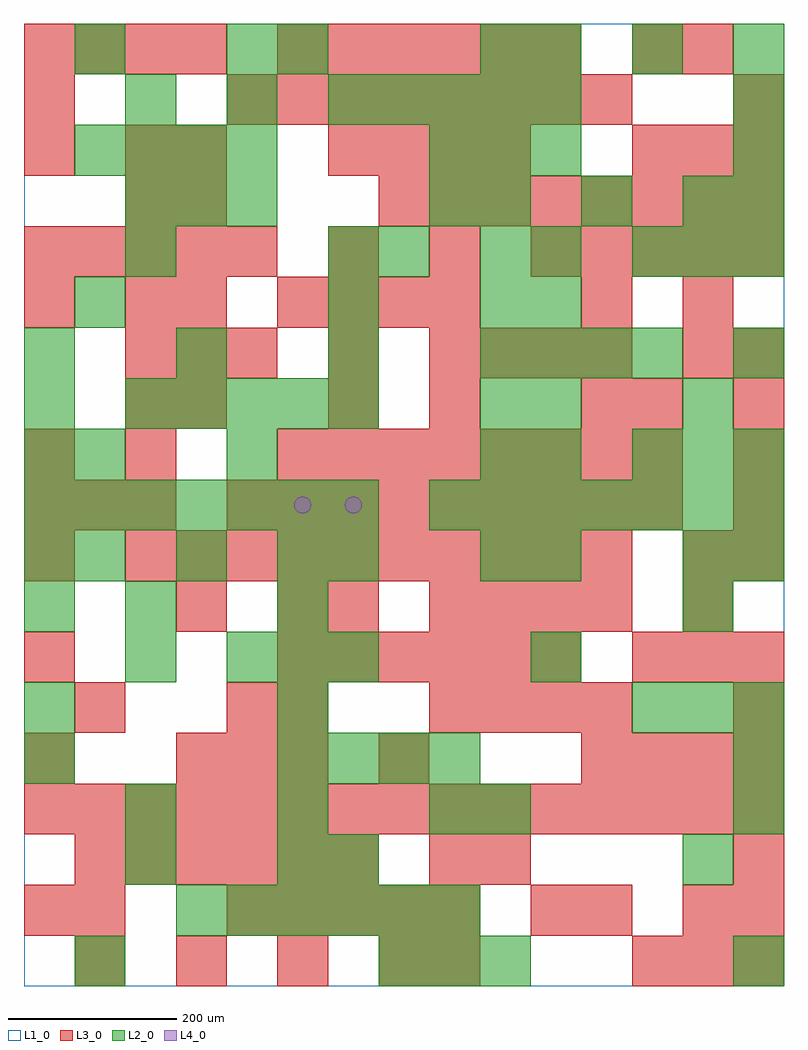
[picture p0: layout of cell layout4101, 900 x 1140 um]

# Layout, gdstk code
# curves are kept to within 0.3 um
import gdstk
lib = gdstk.Library(unit=1e-6, precision=1e-09)
def R(c, l, rs):  # rectangles x0, y0, x1, y1
    for r in rs: c.add(gdstk.rectangle(r[:2], r[2:], *l))
def A(c, l, x, y, w, h, nx, ny, dx, dy):  # array of equal rectangles
    R(c, l, [(x+i*dx, y+j*dy, x+i*dx+w, y+j*dy+h) for i in range(nx) for j in range(ny)])
def P(c, l, *ps):  # polygons
    for p in ps: c.add(gdstk.Polygon(p, *l))
L1_0 = (1, 0)
L2_0 = (2, 0)
L3_0 = (3, 0)
L4_0 = (4, 0)

layout4101 = lib.new_cell('layout4101')
R(layout4101, L1_0, [(0,0,900,1140)])
A(layout4101, L2_0, 420, 0, 60, 60, 3, 1, 60, 0)
A(layout4101, L2_0, 180, 60, 60, 60, 6, 1, 60, 0)
A(layout4101, L2_0, 120, 180, 60, 60, 3, 1, 180, 0)
A(layout4101, L2_0, 300, 240, 60, 60, 4, 1, 60, 0)
A(layout4101, L2_0, 840, 240, 60, 60, 1, 3, 0, 240)
A(layout4101, L2_0, 720, 300, 60, 60, 3, 2, 60, 300)
A(layout4101, L2_0, 240, 360, 60, 60, 3, 1, 60, 0)
A(layout4101, L2_0, 600, 360, 60, 60, 1, 3, 0, 120)
A(layout4101, L2_0, 60, 480, 60, 60, 3, 1, 120, 0)
A(layout4101, L2_0, 0, 540, 60, 60, 7, 1, 60, 0)
A(layout4101, L2_0, 480, 540, 60, 60, 7, 1, 60, 0)
A(layout4101, L2_0, 120, 660, 60, 60, 5, 1, 60, 0)
A(layout4101, L2_0, 0, 720, 60, 60, 4, 1, 180, 0)
A(layout4101, L2_0, 600, 720, 60, 60, 3, 1, 60, 0)
A(layout4101, L2_0, 720, 840, 60, 60, 3, 1, 60, 0)
A(layout4101, L2_0, 120, 900, 60, 60, 3, 1, 60, 0)
A(layout4101, L2_0, 540, 900, 60, 60, 3, 1, 120, 0)
A(layout4101, L2_0, 840, 900, 60, 60, 1, 3, 0, 60)
A(layout4101, L2_0, 60, 960, 60, 60, 4, 1, 60, 0)
A(layout4101, L2_0, 480, 960, 60, 60, 3, 1, 60, 0)
A(layout4101, L2_0, 120, 1020, 60, 60, 3, 1, 120, 0)
A(layout4101, L2_0, 420, 1020, 60, 60, 4, 1, 60, 0)
A(layout4101, L2_0, 600, 1080, 60, 60, 3, 1, 120, 0)
R(layout4101, L2_0, [(60,0,120,60), (840,0,900,60), (120,120,180,180), (300,120,360,180), (360,120,420,180), (780,120,840,180), (540,180,600,240), (840,180,900,240), (0,240,60,300), (0,300,60,360), (300,300,360,360), (120,360,180,420), (0,420,60,480), (120,420,180,480), (300,420,360,480), (780,420,840,480), (0,480,60,540), (360,480,420,540), (540,480,600,540), (780,480,840,540), (0,600,60,660), (60,600,120,660), (240,600,300,660), (540,600,600,660), (0,660,60,720), (540,660,600,720), (600,660,660,720), (780,660,840,720), (60,780,120,840), (360,780,420,840), (540,780,600,840), (600,780,660,840), (120,840,180,900), (360,840,420,900), (420,840,480,900), (540,840,600,900), (600,840,660,900), (480,900,540,960), (60,1080,120,1140), (240,1080,300,1140), (300,1080,360,1140), (540,1080,600,1140)])
A(layout4101, L3_0, 60, 0, 60, 60, 4, 1, 120, 0)
A(layout4101, L3_0, 720, 0, 60, 60, 3, 2, 60, 360)
A(layout4101, L3_0, 240, 60, 60, 60, 5, 1, 60, 0)
A(layout4101, L3_0, 60, 120, 60, 60, 6, 1, 60, 0)
A(layout4101, L3_0, 840, 120, 60, 60, 1, 3, 0, 180)
A(layout4101, L3_0, 0, 180, 60, 60, 15, 1, 60, 0)
A(layout4101, L3_0, 0, 240, 60, 60, 1, 4, 0, 120)
A(layout4101, L3_0, 180, 240, 60, 60, 3, 1, 60, 0)
A(layout4101, L3_0, 660, 240, 60, 60, 4, 2, 60, 600)
A(layout4101, L3_0, 480, 300, 60, 60, 4, 2, 60, 120)
A(layout4101, L3_0, 300, 360, 60, 60, 6, 2, 60, 720)
A(layout4101, L3_0, 120, 480, 60, 60, 10, 1, 60, 0)
A(layout4101, L3_0, 0, 540, 60, 60, 3, 1, 60, 0)
A(layout4101, L3_0, 240, 540, 60, 60, 9, 1, 60, 0)
A(layout4101, L3_0, 840, 540, 60, 60, 1, 4, 0, 60)
A(layout4101, L3_0, 300, 600, 60, 60, 8, 1, 60, 0)
A(layout4101, L3_0, 120, 660, 60, 60, 1, 3, 0, 120)
A(layout4101, L3_0, 180, 660, 60, 60, 1, 3, 0, 120)
A(layout4101, L3_0, 120, 720, 60, 60, 3, 1, 60, 0)
A(layout4101, L3_0, 480, 720, 60, 60, 4, 1, 60, 0)
A(layout4101, L3_0, 300, 780, 60, 60, 4, 1, 60, 0)
A(layout4101, L3_0, 0, 840, 60, 60, 5, 1, 60, 0)
A(layout4101, L3_0, 360, 840, 60, 60, 3, 1, 120, 0)
A(layout4101, L3_0, 420, 900, 60, 60, 8, 1, 60, 0)
A(layout4101, L3_0, 360, 960, 60, 60, 4, 1, 60, 0)
A(layout4101, L3_0, 720, 960, 60, 60, 3, 1, 60, 0)
A(layout4101, L3_0, 240, 1020, 60, 60, 8, 1, 60, 0)
A(layout4101, L3_0, 0, 1080, 60, 60, 4, 1, 60, 0)
R(layout4101, L3_0, [(480,0,540,60), (0,60,60,120), (60,60,120,120), (600,60,660,120), (660,60,720,120), (780,60,840,120), (840,60,900,120), (480,120,540,180), (540,120,600,180), (420,240,480,300), (60,300,120,360), (240,300,300,360), (300,300,360,360), (180,420,240,480), (300,420,360,480), (360,420,420,480), (780,420,840,480), (780,480,840,540), (120,600,180,660), (360,660,420,720), (480,660,540,720), (660,660,720,720), (720,660,780,720), (360,720,420,780), (780,720,840,780), (0,780,60,840), (660,780,720,840), (780,780,840,840), (0,960,60,1020), (120,960,180,1020), (180,960,240,1020), (0,1020,60,1080), (840,1020,900,1080), (720,1080,780,1140), (780,1080,840,1140)])
P(layout4101, L4_0, [(340,570),(339.239,573.827),(337.071,577.071),(333.827,579.239),(330,580),(326.173,579.239),(322.929,577.071),(320.761,573.827),(320,570),(320.761,566.173),(322.929,562.929),(326.173,560.761),(330,560),(333.827,560.761),(337.071,562.929),(339.239,566.173)],
  [(400,570),(399.239,573.827),(397.071,577.071),(393.827,579.239),(390,580),(386.173,579.239),(382.929,577.071),(380.761,573.827),(380,570),(380.761,566.173),(382.929,562.929),(386.173,560.761),(390,560),(393.827,560.761),(397.071,562.929),(399.239,566.173)])

lib.write_gds('layout4101.gds')
